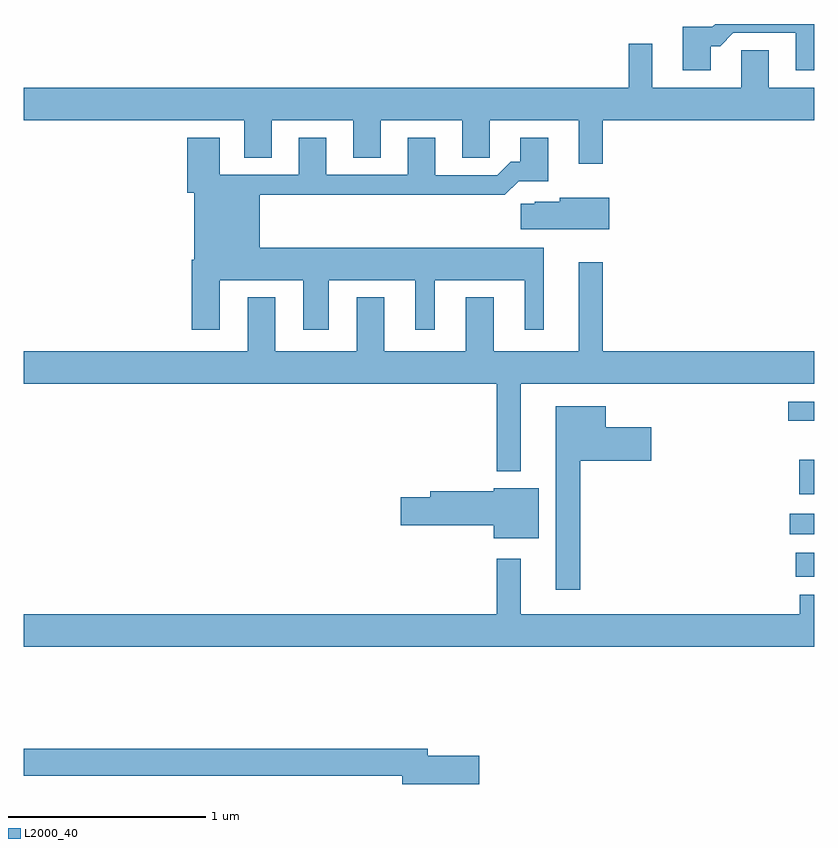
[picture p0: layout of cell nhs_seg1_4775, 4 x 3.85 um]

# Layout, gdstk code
import gdstk
lib = gdstk.Library(unit=1e-6, precision=1e-09)
def R(c, l, rs):  # rectangles x0, y0, x1, y1
    for r in rs: c.add(gdstk.rectangle(r[:2], r[2:], *l))
def P(c, l, *ps):  # polygons
    for p in ps: c.add(gdstk.Polygon(p, *l))
L2000_40 = (2000, 40)

nhs_seg1_4775 = lib.new_cell('nhs_seg1_4775')
R(nhs_seg1_4775, L2000_40, [(372.906,569.402,373,569.524), (372.876,569.618,373,569.722), (372.924,569.82,373,569.995), (372.867,570.192,373,570.288)])
P(nhs_seg1_4775, L2000_40, [(372.475,572.087),(372.524,572.087),(372.591,572.154),(372.905,572.154),(372.905,571.965),(373,571.965),(373,572.199),(372.498,572.199),(372.483,572.184),(372.335,572.184),(372.335,571.965),(372.475,571.965)],
  [(373,571.876),(372.769,571.876),(372.769,572.066),(372.63,572.066),(372.63,571.876),(372.181,571.876),(372.181,572.098),(372.06,572.098),(372.06,571.876),(369,571.876),(369,571.712),(370.115,571.712),(370.115,571.522),(370.255,571.522),(370.255,571.712),(370.667,571.712),(370.667,571.522),(370.807,571.522),(370.807,571.712),(371.219,571.712),(371.219,571.522),(371.358,571.522),(371.358,571.712),(371.807,571.712),(371.807,571.491),(371.929,571.491),(371.929,571.712),(373,571.712)],
  [(369.991,570.902),(370.415,570.902),(370.415,570.651),(370.543,570.651),(370.543,570.902),(370.982,570.902),(370.982,570.651),(371.08,570.651),(371.08,570.902),(371.534,570.902),(371.534,570.651),(371.632,570.651),(371.632,571.066),(370.195,571.066),(370.195,571.336),(371.179,571.336),(371.179,571.334),(371.435,571.334),(371.505,571.404),(371.653,571.404),(371.653,571.624),(371.513,571.624),(371.513,571.501),(371.464,571.501),(371.397,571.434),(371.083,571.434),(371.083,571.624),(370.943,571.624),(370.943,571.437),(370.531,571.437),(370.531,571.624),(370.391,571.624),(370.391,571.437),(369.991,571.437),(369.991,571.624),(369.827,571.624),(369.827,571.344),(369.863,571.344),(369.863,571.006),(369.851,571.006),(369.851,570.651),(369.991,570.651)],
  [(371.962,571.321),(371.712,571.321),(371.712,571.3),(371.586,571.3),(371.586,571.289),(371.514,571.289),(371.514,571.16),(371.962,571.16)],
  [(371.515,570.38),(373,570.38),(373,570.544),(371.929,570.544),(371.929,570.994),(371.807,570.994),(371.807,570.544),(371.377,570.544),(371.377,570.817),(371.237,570.817),(371.237,570.544),(370.825,570.544),(370.825,570.817),(370.685,570.817),(370.685,570.544),(370.273,570.544),(370.273,570.817),(370.133,570.817),(370.133,570.544),(369,570.544),(369,570.38),(371.394,570.38),(371.394,569.936),(371.515,569.936)],
  [(371.815,569.99),(372.175,569.99),(372.175,570.16),(371.944,570.16),(371.944,570.265),(371.693,570.265),(371.693,569.337),(371.815,569.337)],
  [(371.605,569.851),(371.378,569.851),(371.378,569.834),(371.057,569.834),(371.057,569.804),(370.908,569.804),(370.908,569.662),(371.378,569.662),(371.378,569.597),(371.605,569.597)],
  [(373,569.311),(372.926,569.311),(372.926,569.212),(371.515,569.212),(371.515,569.494),(371.394,569.494),(371.394,569.212),(369,569.212),(369,569.048),(373,569.048)],
  [(371.305,568.496),(371.044,568.496),(371.044,568.532),(369,568.532),(369,568.396),(370.916,568.396),(370.916,568.354),(371.305,568.354)])

lib.write_gds('nhs_seg1_4775.gds')
